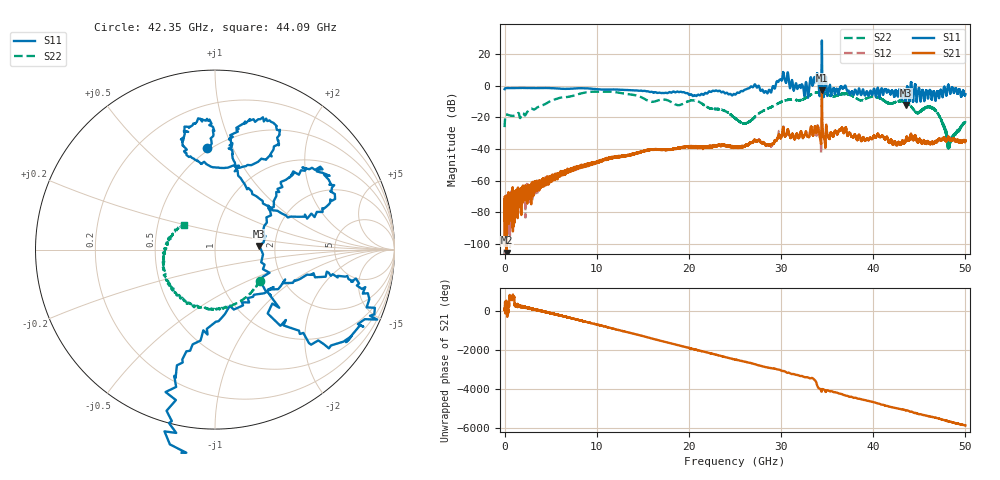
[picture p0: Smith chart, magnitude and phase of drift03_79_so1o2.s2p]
!Created with skrf (http://scikit-rf.org).
# Hz S RI R 50.0
!freq ReS11 ImS11 ReS21 ImS21 ReS12 ImS12 ReS22 ImS22
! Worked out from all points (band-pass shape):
!   10000 points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, 5.3 MHz to 50 GHz, reference 50 ohm
!   highest |S21| = -2.69 dB at 34.43 GHz (marker M1); lowest = -105.4 dB at 215.3 MHz (marker M2)
!   |S21| within 3 dB of the highest: 34.42756 GHz to 34.43515 GHz (7.594 MHz wide, 0.0221 % of centre)
!   lowest |S11| = -12.1 dB at 43.52 GHz (marker M3), VSWR 1.66, Z = 82.7 + j3.63 ohm
!   |S11| at or under -10 dB: 43.48725 GHz to 43.54344 GHz (56.19 MHz wide, 0.129 % of centre); 43.54792 GHz to 43.55523 GHz (7.313 MHz wide, 0.0168 % of centre); 44.31354 GHz to 44.31613 GHz (2.595 MHz wide, 0.00586 % of centre) (the widest 3 of 4)
!   |S22| runs from -40.1 to -3.6 dB; largest |S21 - S12| = 0.23
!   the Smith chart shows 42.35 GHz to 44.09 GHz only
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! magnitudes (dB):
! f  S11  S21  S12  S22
! 5.3 MHz  -2.1  -70.4  -72.5  -26.1
! 215.3 MHz  -1.4  -105.4  -74.3  -18.3
! 1.9 GHz  -1.3  -69.8  -66.0  -17.8
! 8.34 GHz  -1.5  -50.8  -51.3  -4.7
! 16.67 GHz  -4.4  -40.4  -40.3  -9.2
! 20.75 GHz  -6.3  -38.1  -39.1  -9.4
! 25.01 GHz  -5.5  -38.7  -38.7  -20.4
! 26.22 GHz  -2.3  -37.5  -37.2  -23.5
! 27.37 GHz  -1.1  -34.7  -34.7  -18.6
! 28.72 GHz  -2.5  -37.5  -37.4  -14.0
! 30.14 GHz  4.4  -29.6  -29.7  -9.9
! 32.74 GHz  2.0  -29.5  -29.2  -7.3
! 33.34 GHz  2.6  -27.5  -27.7  -5.2
! 33.82 GHz  4.0  -29.0  -29.5  -4.2
! 34.43 GHz  28.7  -2.7  -4.8  -3.9
! 36.48 GHz  -0.5  -27.9  -27.9  -5.3
! 41.67 GHz  -2.9  -35.5  -35.5  -10.7
! 43.52 GHz  -12.1  -34.4  -34.8  -10.3
! 44.77 GHz  -7.8  -35.3  -35.2  -17.4
! 46.66 GHz  -5.1  -35.8  -35.9  -15.4
! 48.27 GHz  -2.2  -33.5  -33.4  -36.8
! 50 GHz  -5.3  -34.4  -34.5  -23.2
